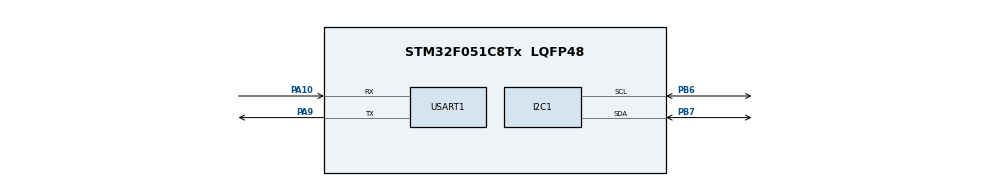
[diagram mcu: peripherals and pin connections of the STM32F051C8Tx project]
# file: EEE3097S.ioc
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Mcu.Family=STM32F0
Mcu.Name=STM32F051C8Tx
Mcu.Package=LQFP48
PA10.Mode=Asynchronous
PA10.Signal=USART1_RX
PA9.Mode=Asynchronous
PA9.Signal=USART1_TX
PB6.Mode=I2C
PB6.Signal=I2C1_SCL
PB7.Mode=I2C
PB7.Signal=I2C1_SDA
ProjectManager.HeapSize=0x200
ProjectManager.StackSize=0x400
ProjectManager.TargetToolchain=Makefile
USART1.VirtualMode-Asynchronous=VM_ASYNC
board=custom

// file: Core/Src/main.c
/* USER CODE BEGIN Header */
/**
  ******************************************************************************
  * @file           : main.c
  * @brief          : Main program body
  ******************************************************************************
  * @attention
  *
  * Copyright (c) 2022 STMicroelectronics.
  * All rights reserved.
  *
  * This software is licensed under terms that can be found in the LICENSE file
  * in the root directory of this software component.
  * If no LICENSE file comes with this software, it is provided AS-IS.
  *
  ******************************************************************************
  */
/* USER CODE END Header */
#include "main.h"

/* USER CODE BEGIN Includes */
#include <stdlib.h>
#include <stdio.h>
#include <string.h>
#include "lz4.h"

/* USER CODE END Includes */

I2C_HandleTypeDef hi2c1;

UART_HandleTypeDef huart1;

/* USER CODE BEGIN PV */
	uint8_t accXH;
	uint8_t accXL;
	uint8_t accYH;
	uint8_t accYL;
	uint8_t accZH;
	uint8_t accZL;

	uint8_t gyroXH;
	uint8_t gyroXL;
	uint8_t gyroYH;
	uint8_t gyroYL;
	uint8_t gyroZH;
	uint8_t gyroZL;

  char buffer[128];
  char header[64];

  int16_t accX;
  int16_t accY;
  int16_t accZ;

  int16_t gyroX;
  int16_t gyroY;
  int16_t gyroZ;

  double temp;
  double out;

  uint32_t time;

/* USER CODE END PV */

void SystemClock_Config(void);
static void MX_GPIO_Init(void);
static void MX_I2C1_Init(void);
static void MX_USART1_UART_Init(void);
/* USER CODE BEGIN PFP */
uint8_t reverseBits(uint8_t num);

/* USER CODE END PFP */

int main(void)
{

  /* MCU Configuration--------------------------------------------------------*/

  /* Reset of all peripherals, Initializes the Flash interface and the Systick. */
  HAL_Init();

  /* Configure the system clock */
  SystemClock_Config();

  /* Initialize all configured peripherals */
  MX_GPIO_Init();
  MX_I2C1_Init();
  MX_USART1_UART_Init();
  /* USER CODE BEGIN 2 */

  //Take board out of sleep mode.
  HAL_I2C_Mem_Write(&hi2c1, 0b11010000, 0x06, 1, 0b00000001, 1, 1000);

  //Setup Gyro
  //Switch to user bank 2
  HAL_I2C_Mem_Write(&hi2c1, 0b11010000, 0x7F, 1, 0x20, 1, 1000);

  //Set sensitivity
  /*
  HAL_I2C_Mem_Write(&hi2c1, 0b11010000, 0x01, 1, 0x00, 1, 1000);
  //HAL_I2C_Mem_Write(&hi2c1, 0b11010000, 0x07, 1, 0x00, 1, 1000);
  HAL_I2C_Mem_Write(&hi2c1, 0b11010000, 0x7F, 1, 0x20, 1, 1000);
  */

  //HAL_I2C_Mem_Write(&hi2c1, 0b11010000, 0x14, 1, 0b00000001, 1, 1000);
  //sprintf(header,"\r\n%s\r\n", "Time,AccX,AccY,AccZ,GyroX,GyroY,GryoZ");
  sprintf(header,"\r\n%s\r\n", "Time (ms),AccX (g),AccY (g),AccZ (g)");
  HAL_UART_Transmit(&huart1, (uint8_t *)&header, 64, 1000);

  /* USER CODE END 2 */

  /* Infinite loop */
  /* USER CODE BEGIN WHILE */
  while (1)
  {
    time = HAL_GetTick();

    HAL_I2C_Mem_Read(&hi2c1, 0b11010000, 0x2D, 1, &accXH, 1, 1000);
    HAL_I2C_Mem_Read(&hi2c1, 0b11010000, 0x2E, 1, &accXL, 1, 1000);

    HAL_I2C_Mem_Read(&hi2c1, 0b11010000, 0x2F, 1, &accYH, 1, 1000);
    HAL_I2C_Mem_Read(&hi2c1, 0b11010000, 0x30, 1, &accYL, 1, 1000);

    HAL_I2C_Mem_Read(&hi2c1, 0b11010000, 0x31, 1, &accZH, 1, 1000);
    HAL_I2C_Mem_Read(&hi2c1, 0b11010000, 0x32, 1, &accZL, 1, 1000);

/*

    HAL_I2C_Mem_Read(&hi2c1, 0b11010000, 0x33, 1, &gyroXH, 1, 1000);
    HAL_I2C_Mem_Read(&hi2c1, 0b11010000, 0x34, 1, &gyroXL, 1, 1000);

    HAL_I2C_Mem_Read(&hi2c1, 0b11010000, 0x35, 1, &gyroYH, 1, 1000);
    HAL_I2C_Mem_Read(&hi2c1, 0b11010000, 0x36, 1, &gyroYL, 1, 1000);

    HAL_I2C_Mem_Read(&hi2c1, 0b11010000, 0x37, 1, &gyroZH, 1, 1000);
    HAL_I2C_Mem_Read(&hi2c1, 0b11010000, 0x38, 1, &gyroZL, 1, 1000);
    */

    accX = ((accXH<<8)|accXL);
    accY = ((accYH<<8)|accYL);
    accZ = ((accZH<<8)|accZL);

/*
    gyroX = ((gyroXH<<8)|gyroXL);
    gyroY = ((gyroYH<<8)|gyroYL);
    gyroZ = ((gyroZH<<8)|gyroZL);
    */

    sprintf(buffer, "%d,%.2f,%.2f,%.2f\r\n", time, accX/16384.0, accY/16384.0, accZ/16384.0, gyroX, gyroY, gyroZ);
    //sprintf(buffer, "%ld,%.2f,%.2f,%.2f\r\n", time, gyroX/131.0, gyroY/131.0, gyroZ/131.0);
    HAL_UART_Transmit(&huart1, (uint8_t *)&buffer, 128, 1000);

    //sprintf(buffer, "%d\r\n", reverseBits(temp));
    //HAL_UART_Transmit(&huart1, (uint8_t *)&buffer, 32, 1000);
    HAL_Delay(10);
    /* USER CODE END WHILE */

  }
}

void SystemClock_Config(void)
{
  RCC_OscInitTypeDef RCC_OscInitStruct = {0};
  RCC_ClkInitTypeDef RCC_ClkInitStruct = {0};
  RCC_PeriphCLKInitTypeDef PeriphClkInit = {0};

  /** Initializes the RCC Oscillators according to the specified parameters
  * in the RCC_OscInitTypeDef structure.
  */
  RCC_OscInitStruct.OscillatorType = RCC_OSCILLATORTYPE_HSI;
  RCC_OscInitStruct.HSIState = RCC_HSI_ON;
  RCC_OscInitStruct.HSICalibrationValue = RCC_HSICALIBRATION_DEFAULT;
  RCC_OscInitStruct.PLL.PLLState = RCC_PLL_NONE;
  if (HAL_RCC_OscConfig(&RCC_OscInitStruct) != HAL_OK)
  {
    Error_Handler();
  }

  /** Initializes the CPU, AHB and APB buses clocks
  */
  RCC_ClkInitStruct.ClockType = RCC_CLOCKTYPE_HCLK|RCC_CLOCKTYPE_SYSCLK
                              |RCC_CLOCKTYPE_PCLK1;
  RCC_ClkInitStruct.SYSCLKSource = RCC_SYSCLKSOURCE_HSI;
  RCC_ClkInitStruct.AHBCLKDivider = RCC_SYSCLK_DIV1;
  RCC_ClkInitStruct.APB1CLKDivider = RCC_HCLK_DIV1;

  if (HAL_RCC_ClockConfig(&RCC_ClkInitStruct, FLASH_LATENCY_0) != HAL_OK)
  {
    Error_Handler();
  }
  PeriphClkInit.PeriphClockSelection = RCC_PERIPHCLK_USART1|RCC_PERIPHCLK_I2C1;
  PeriphClkInit.Usart1ClockSelection = RCC_USART1CLKSOURCE_PCLK1;
  PeriphClkInit.I2c1ClockSelection = RCC_I2C1CLKSOURCE_HSI;
  if (HAL_RCCEx_PeriphCLKConfig(&PeriphClkInit) != HAL_OK)
  {
    Error_Handler();
  }
}

static void MX_I2C1_Init(void)
{

  hi2c1.Instance = I2C1;
  hi2c1.Init.Timing = 0x2000090E;
  hi2c1.Init.OwnAddress1 = 0;
  hi2c1.Init.AddressingMode = I2C_ADDRESSINGMODE_7BIT;
  hi2c1.Init.DualAddressMode = I2C_DUALADDRESS_DISABLE;
  hi2c1.Init.OwnAddress2 = 0;
  hi2c1.Init.OwnAddress2Masks = I2C_OA2_NOMASK;
  hi2c1.Init.GeneralCallMode = I2C_GENERALCALL_DISABLE;
  hi2c1.Init.NoStretchMode = I2C_NOSTRETCH_DISABLE;
  if (HAL_I2C_Init(&hi2c1) != HAL_OK)
  {
    Error_Handler();
  }

  /** Configure Analogue filter
  */
  if (HAL_I2CEx_ConfigAnalogFilter(&hi2c1, I2C_ANALOGFILTER_ENABLE) != HAL_OK)
  {
    Error_Handler();
  }

  /** Configure Digital filter
  */
  if (HAL_I2CEx_ConfigDigitalFilter(&hi2c1, 0) != HAL_OK)
  {
    Error_Handler();
  }

}

static void MX_USART1_UART_Init(void)
{

  huart1.Instance = USART1;
  huart1.Init.BaudRate = 38400;
  huart1.Init.WordLength = UART_WORDLENGTH_8B;
  huart1.Init.StopBits = UART_STOPBITS_1;
  huart1.Init.Parity = UART_PARITY_NONE;
  huart1.Init.Mode = UART_MODE_TX_RX;
  huart1.Init.HwFlowCtl = UART_HWCONTROL_NONE;
  huart1.Init.OverSampling = UART_OVERSAMPLING_16;
  huart1.Init.OneBitSampling = UART_ONE_BIT_SAMPLE_DISABLE;
  huart1.AdvancedInit.AdvFeatureInit = UART_ADVFEATURE_NO_INIT;
  if (HAL_UART_Init(&huart1) != HAL_OK)
  {
    Error_Handler();
  }

}

static void MX_GPIO_Init(void)
{

  /* GPIO Ports Clock Enable */
  __HAL_RCC_GPIOA_CLK_ENABLE();
  __HAL_RCC_GPIOB_CLK_ENABLE();

}

/* USER CODE BEGIN 4 */
uint8_t reverseBits(uint8_t num)
{
    uint8_t NO_OF_BITS = 8;
    uint8_t reverse_num = 0;
    int i;
    for (i = 0; i < NO_OF_BITS; i++) {
        if ((num & (1 << i)))
            reverse_num |= 1 << ((NO_OF_BITS - 1) - i);
    }
    return reverse_num;
}

/* USER CODE END 4 */

void Error_Handler(void)
{
  __disable_irq();
  while (1)
  {
  }
}
